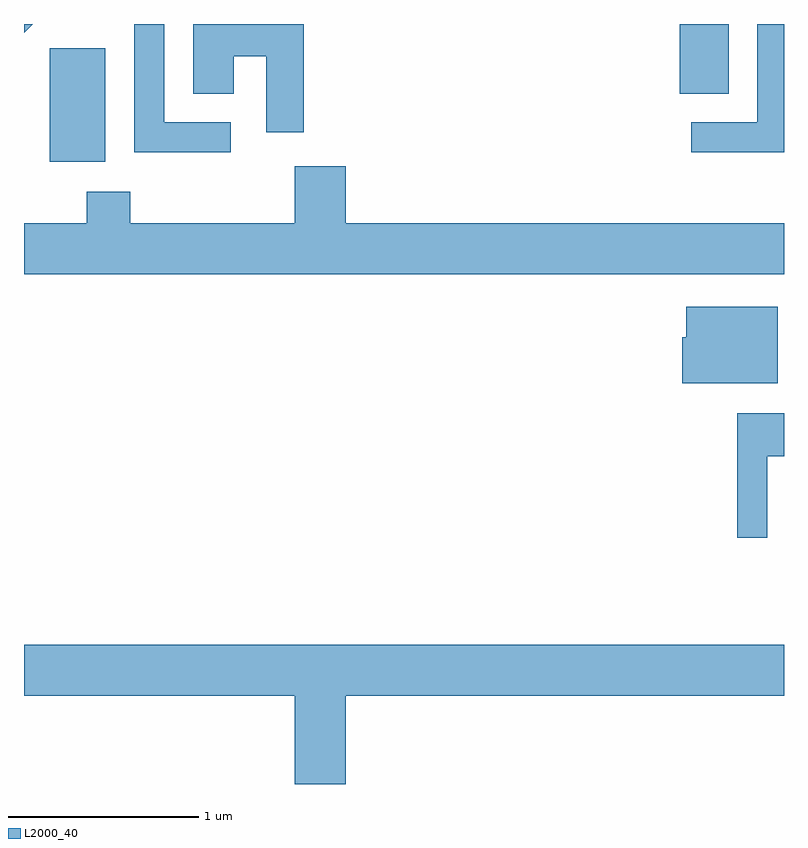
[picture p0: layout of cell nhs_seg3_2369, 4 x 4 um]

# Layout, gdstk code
import gdstk
lib = gdstk.Library(unit=1e-6, precision=1e-09)
def R(c, l, rs):  # rectangles x0, y0, x1, y1
    for r in rs: c.add(gdstk.rectangle(r[:2], r[2:], *l))
def P(c, l, *ps):  # polygons
    for p in ps: c.add(gdstk.Polygon(p, *l))
L2000_40 = (2000, 40)

nhs_seg3_2369 = lib.new_cell('nhs_seg3_2369')
R(nhs_seg3_2369, L2000_40, [(253.746,1233.166,254.039,1233.764), (257.061,1233.526,257.319,1233.892)])
P(nhs_seg3_2369, L2000_40, [(257.611,1233.892),(257.471,1233.892),(257.471,1233.374),(257.123,1233.374),(257.123,1233.216),(257.611,1233.216)],
  [(255.084,1233.892),(254.501,1233.892),(254.501,1233.526),(254.714,1233.526),(254.714,1233.721),(254.886,1233.721),(254.886,1233.321),(255.084,1233.321)],
  [(253.657,1233.892),(253.611,1233.892),(253.611,1233.846)],
  [(254.698,1233.374),(254.349,1233.374),(254.349,1233.892),(254.191,1233.892),(254.191,1233.216),(254.698,1233.216)],
  [(257.611,1232.844),(255.304,1232.844),(255.304,1233.144),(255.036,1233.144),(255.036,1232.844),(254.169,1232.844),(254.169,1233.009),(253.941,1233.009),(253.941,1232.844),(253.611,1232.844),(253.611,1232.576),(257.611,1232.576)],
  [(257.579,1232.404),(257.096,1232.404),(257.096,1232.244),(257.076,1232.244),(257.076,1232.001),(257.579,1232.001)],
  [(257.524,1231.616),(257.611,1231.616),(257.611,1231.844),(257.366,1231.844),(257.366,1231.188),(257.524,1231.188)],
  [(255.304,1230.356),(257.611,1230.356),(257.611,1230.624),(253.611,1230.624),(253.611,1230.356),(255.036,1230.356),(255.036,1229.892),(255.304,1229.892)])

lib.write_gds('nhs_seg3_2369.gds')
